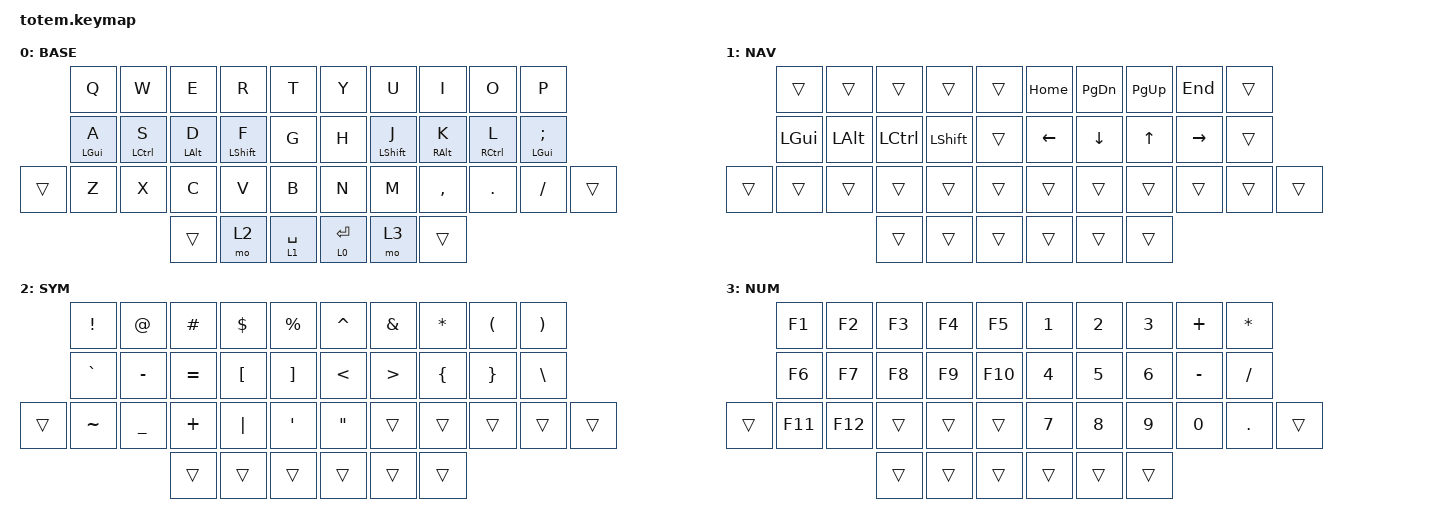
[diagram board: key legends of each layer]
#include <behaviors.dtsi>
#include <dt-bindings/zmk/keys.h>

#define BASE 0
#define NAV  1
#define SYM  2
#define NUM  3
#define HYPR 4

&mt {
    quick-tap-ms = <100>;
    global-quick-tap;
    flavor = "tap-preferred";
    tapping-term-ms = <170>;
};

/ {
    combos {
        compatible = "zmk,combos";

        combo_esc {
            timeout-ms = <50>;
            key-positions = <0 1>;     // Q + W
            bindings = <&kp ESC>;
        };

        combo_tab {
            timeout-ms = <50>;
            key-positions = <10 11>;   // A + S
            bindings = <&kp TAB>;
        };

        combo_bksp {
            timeout-ms = <50>;
            key-positions = <8 9>;     // O + P
            bindings = <&kp BACKSPACE>;
        };

        combo_del {
            timeout-ms = <50>;
            key-positions = <18 19>;   // . + /
            bindings = <&kp DELETE>;
        };

        combo_caps_word {
            timeout-ms = <50>;
            key-positions = <13 16>;   // F + J
            bindings = <&caps_word>;
        };

        combo_num {
            timeout-ms = <50>;
            key-positions = <37 38>;   // right mid + right outer
            bindings = <&mo 3>;
        };

        combo_screenshot {
            timeout-ms = <50>;
            key-positions = <35 36>;   // Space + Enter (cross-thumb)
            bindings = <&kp PSCRN>;
        };
    };

    behaviors {
        caps_word: caps_word {
            compatible = "zmk,behavior-caps-word";
            label = "CAPS_WORD";
            #binding-cells = <0>;
            continue-list = <UNDERSCORE MINUS BACKSPACE>;
        };
    };

    keymap {
        compatible = "zmk,keymap";

        base_layer {
            label = "BASE";
            bindings = <
        &kp Q           &kp W        &kp E           &kp R             &kp T          &kp Y      &kp U             &kp I            &kp O        &kp P
        &mt LEFT_GUI A  &mt LCTRL S  &mt LEFT_ALT D  &mt LEFT_SHIFT F  &kp G          &kp H      &mt LEFT_SHIFT J  &mt RIGHT_ALT K  &mt RCTRL L  &mt LEFT_GUI SEMI
&trans  &kp Z           &kp X        &kp C           &kp V             &kp B          &kp N      &kp M             &kp COMMA        &kp DOT      &kp FSLH           &trans
                                     &trans          &mo 2             &lt 1 SPACE    &lt 0 RET  &mo 3             &trans
            >;
        };

        nav_layer {
            label = "NAV";
            bindings = <
        &trans        &trans        &trans     &trans          &trans    &kp HOME  &kp PG_DN  &kp PG_UP  &kp END    &trans
        &kp LEFT_GUI  &kp LEFT_ALT  &kp LCTRL  &kp LEFT_SHIFT  &trans    &kp LEFT  &kp DOWN   &kp UP     &kp RIGHT  &trans
&trans  &trans        &trans        &trans     &trans          &trans    &trans    &trans     &trans     &trans     &trans  &trans
                                    &trans     &trans          &trans    &trans    &trans     &trans
            >;
        };

        sym_layer {
            label = "SYM";
            bindings = <
        &kp EXCL   &kp AT     &kp HASH   &kp DLLR  &kp PRCNT    &kp CARET  &kp AMPS  &kp STAR  &kp LPAR  &kp RPAR
        &kp GRAVE  &kp MINUS  &kp EQUAL  &kp LBKT  &kp RBKT     &kp LT     &kp GT    &kp LBRC  &kp RBRC  &kp BSLH
&trans  &kp TILDE  &kp UNDER  &kp PLUS   &kp PIPE  &kp SQT      &kp DQT    &trans    &trans    &trans    &trans    &trans
                              &trans     &trans    &trans       &trans     &trans    &trans
            >;
        };

        num_layer {
            label = "NUM";
            bindings = <
        &kp F1   &kp F2   &kp F3  &kp F4  &kp F5     &kp N1  &kp N2  &kp N3  &kp PLUS   &kp STAR
        &kp F6   &kp F7   &kp F8  &kp F9  &kp F10    &kp N4  &kp N5  &kp N6  &kp MINUS  &kp SLASH
&trans  &kp F11  &kp F12  &trans  &trans  &trans     &kp N7  &kp N8  &kp N9  &kp N0     &kp DOT    &trans
                          &trans  &trans  &trans     &trans  &trans  &trans
            >;
        };
    };
};
